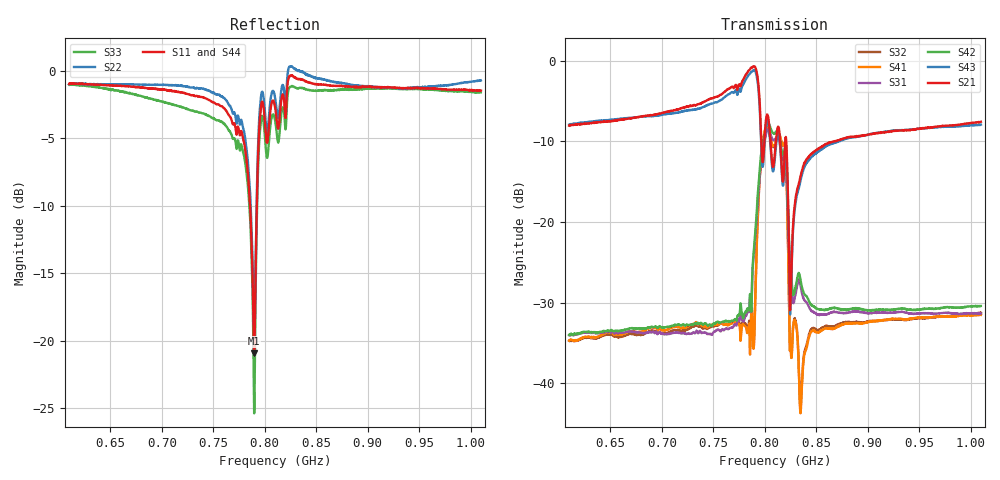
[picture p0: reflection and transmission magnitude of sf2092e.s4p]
# Hz S RI R 50
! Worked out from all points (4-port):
!   1601 points, 610 MHz to 1.01 GHz, reference 50 ohm
!   strongest paths, dB at 610 MHz, 710 MHz, 810 MHz, 910 MHz, 1.01 GHz:
!     S21: -8.1, -6.2, -11.3, -9.0, -7.6
!     S43: -7.9, -6.6, -11.9, -8.9, -7.9
!     S42: -34.0, -32.9, -9.0, -30.9, -30.4
!     S31: -34.0, -33.8, -9.8, -31.2, -31.4
!     S41: -34.7, -33.1, -10.3, -32.3, -31.5
!     S32: -34.7, -33.5, -10.4, -32.3, -31.2
!   lowest |S11| = -20.9 dB at 789.8 MHz (marker M1), VSWR 1.20, Z = 58.6 - j4.53 ohm
!   |S11| at or under -10 dB: 785.8 MHz to 792.3 MHz (6.475 MHz wide, 0.821 % of centre)
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6.1e8  0.69 -0.5637  0.2548 0.3036  0.00766 0.0185  0.00586 0.0176
       0.2521 0.3044  0.7095 -0.5384  0.00536 0.0177  0.00697 0.0186
       0.00758 0.0184  0.0054 0.0175  0.6563 -0.5955  0.2813 0.2875
       0.00576 0.0175  0.00697 0.0187  0.2802 0.2869  0.6508 -0.5974
7.625e8  0.3615 -0.6116  0.5529 0.3449  0.00596 0.021  0.0111 0.0204
         0.554 0.3451  0.4998 -0.5926  0.00919 0.0214  0.00696 0.0234
         0.0059 0.021  0.00907 0.0214  0.3059 -0.5416  0.5464 0.256
         0.0111 0.0204  0.00688 0.0233  0.5463 0.2558  0.3231 -0.6479
7.8975e8  0.0811 -0.0383  0.8887 -0.2423  0.0194 0.0634  -0.00221 -0.0188
          0.8907 -0.2411  0.1013 -0.0308  0.00219 -0.0182  0.0186 0.0681
          0.0195 0.0635  0.00211 -0.0183  0.046 -0.028  0.8134 -0.3163
          -0.00228 -0.019  0.0186 0.0681  0.8134 -0.3154  0.037 -0.0309
8.0225e8  0.5151 -0.1629  0.4427 -0.1344  -0.3453 0.1266  0.3774 -0.106
          0.4431 -0.1336  0.5799 -0.0925  0.3807 -0.0674  -0.385 0.1234
          -0.3438 0.1249  0.381 -0.0673  0.4493 -0.1536  0.3959 -0.1645
          0.3784 -0.1069  -0.387 0.1237  0.3974 -0.1645  0.4903 -0.1902
8.1925e8  0.6814 -0.2884  0.2562 -0.0308  -0.2142 -0.1444  0.2482 0.1854
          0.2572 -0.0304  0.7757 -0.2058  0.2293 0.2082  -0.2314 -0.1593
          -0.214 -0.1444  0.2294 0.2069  0.6154 -0.2667  0.2307 -0.0531
          0.2494 0.1845  -0.2315 -0.1591  0.2315 -0.0524  0.661 -0.3277
8.2525e8  0.8897 -0.343  0.0336 0.00978  0.000644 0.0452  0.0168 -0.00318
          0.0335 0.00986  1.002 -0.2396  0.0172 -0.00136  0.000628 0.0505
          0.000579 0.045  0.0172 -0.00129  0.8085 -0.3222  0.0323 0.00662
          0.0167 -0.00328  0.000839 0.0504  0.0324 0.00656  0.8637 -0.3999
1.01e9  0.5647 -0.6263  0.318 0.2688  0.0118 0.0244  0.0129 0.0233
        0.3179 0.271  0.6804 -0.6176  0.0104 0.0254  0.0121 0.0275
        0.0118 0.0243  0.0103 0.0254  0.5393 -0.6309  0.3425 0.2062
        0.0128 0.0233  0.0121 0.0276  0.3433 0.2062  0.5038 -0.6723
